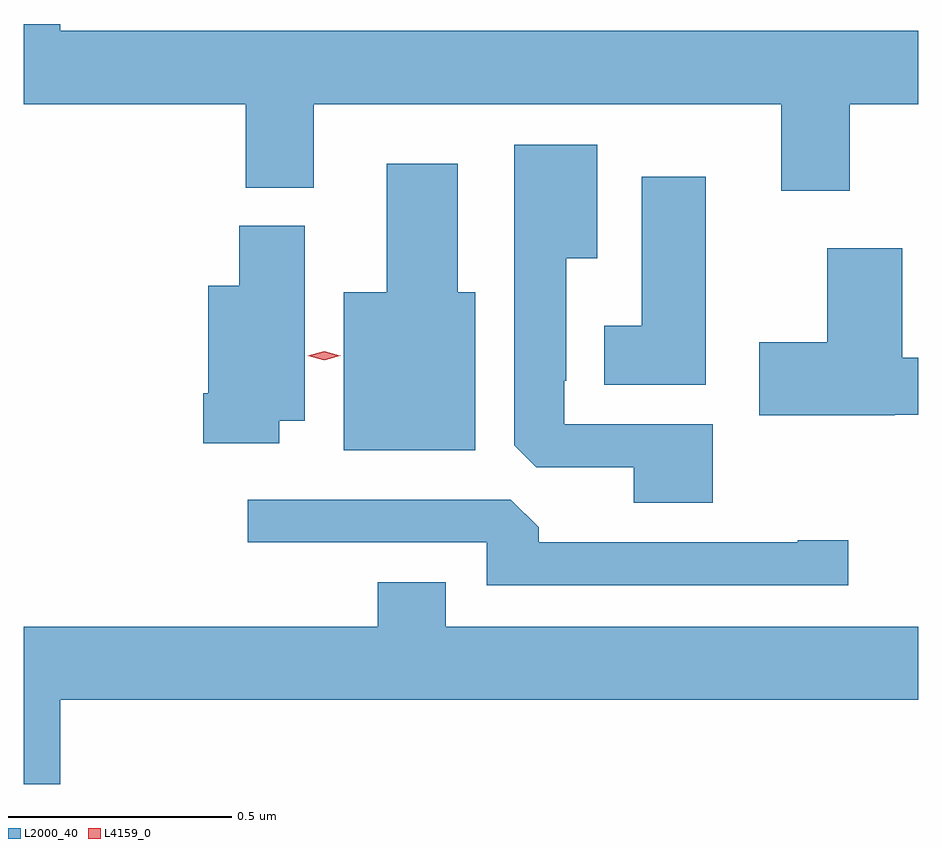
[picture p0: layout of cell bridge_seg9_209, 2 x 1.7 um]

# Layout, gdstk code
import gdstk
lib = gdstk.Library(unit=1e-6, precision=1e-09)
def P(c, l, *ps):  # polygons
    for p in ps: c.add(gdstk.Polygon(p, *l))
L2000_40 = (2000, 40)
L4159_0 = (4159, 0)

bridge_seg9_209 = lib.new_cell('bridge_seg9_209')
P(bridge_seg9_209, L2000_40, [(166.937,1225.724),(167.09,1225.724),(167.09,1225.888),(165.172,1225.888),(165.172,1225.903),(165.09,1225.903),(165.09,1225.724),(165.587,1225.724),(165.587,1225.537),(165.739,1225.537),(165.739,1225.724),(166.784,1225.724),(166.784,1225.53),(166.937,1225.53)],
  [(166.63,1225.008),(166.299,1225.008),(166.299,1225.105),(166.303,1225.105),(166.303,1225.379),(166.372,1225.379),(166.372,1225.633),(166.187,1225.633),(166.187,1224.961),(166.236,1224.912),(166.454,1224.912),(166.454,1224.833),(166.63,1224.833)],
  [(166.099,1225.303),(166.06,1225.303),(166.06,1225.591),(165.902,1225.591),(165.902,1225.303),(165.806,1225.303),(165.806,1224.95),(166.099,1224.95)],
  [(166.615,1225.561),(166.472,1225.561),(166.472,1225.228),(166.388,1225.228),(166.388,1225.097),(166.615,1225.097)],
  [(165.661,1225.016),(165.718,1225.016),(165.718,1225.452),(165.572,1225.452),(165.572,1225.318),(165.503,1225.318),(165.503,1225.078),(165.491,1225.078),(165.491,1224.966),(165.661,1224.966)],
  [(167.037,1225.029),(167.09,1225.029),(167.09,1225.157),(167.054,1225.157),(167.054,1225.402),(166.886,1225.402),(166.886,1225.191),(166.734,1225.191),(166.734,1225.028),(167.037,1225.028)],
  [(166.933,1224.749),(166.82,1224.749),(166.82,1224.744),(166.241,1224.744),(166.241,1224.778),(166.179,1224.84),(165.591,1224.84),(165.591,1224.744),(166.125,1224.744),(166.125,1224.648),(166.933,1224.648)],
  [(165.172,1224.392),(167.09,1224.392),(167.09,1224.556),(166.033,1224.556),(166.033,1224.655),(165.881,1224.655),(165.881,1224.556),(165.09,1224.556),(165.09,1224.204),(165.172,1224.204)])
P(bridge_seg9_209, L4159_0, [(165.762,1225.151),(165.725,1225.161),(165.725,1225.161),(165.725,1225.161),(165.762,1225.171),(165.798,1225.161),(165.799,1225.161),(165.798,1225.161)])

lib.write_gds('bridge_seg9_209.gds')
